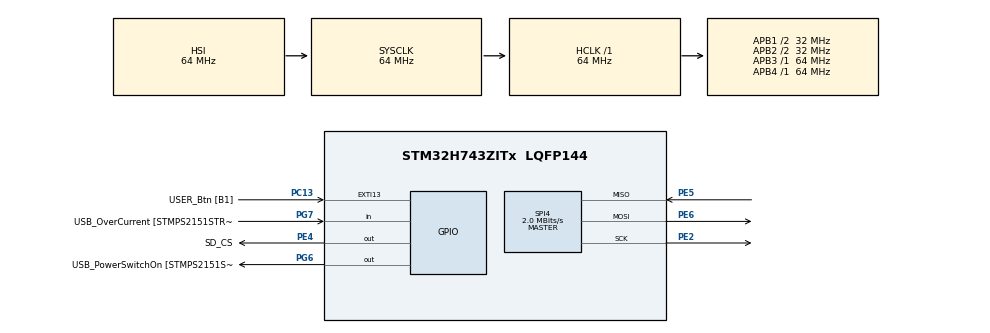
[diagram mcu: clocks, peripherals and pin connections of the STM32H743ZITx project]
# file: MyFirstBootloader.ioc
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FATFS._FS_TINY=0
FATFS._MAX_SS=512
FATFS._STRF_ENCODE=3
FATFS._USE_LFN=1
Mcu.Family=STM32H7
Mcu.Name=STM32H743ZITx
Mcu.Package=LQFP144
Mcu.UserConstants=ima_path,"/ima/"
NVIC.PriorityGroup=NVIC_PRIORITYGROUP_4
PA1.Signal=ETH_REF_CLK
PA2.GPIO_Label=RMII_MDIO
PA2.Signal=ETH_MDIO
PA7.Signal=ETH_CRS_DV
PB13.GPIO_Label=RMII_TXD1
PB13.Signal=ETH_TXD1
PC1.GPIO_Label=RMII_MDC
PC1.Signal=ETH_MDC
PC13.GPIO_Label=USER_Btn [B1]
PC13.Signal=GPXTI13
PC14-OSC32_IN\ (OSC32_IN).Signal=RCC_OSC32_IN
PC15-OSC32_OUT\ (OSC32_OUT).Signal=RCC_OSC32_OUT
PC4.GPIO_Label=RMII_RXD0
PC4.Signal=ETH_RXD0
PC5.GPIO_Label=RMII_RXD1
PC5.Signal=ETH_RXD1
PD8.GPIO_Label=STLK_RX [STM32F103CBT6_PA3]
PD8.Signal=USART3_TX
PD9.GPIO_Label=STLK_TX [STM32F103CBT6_PA2]
PD9.Signal=USART3_RX
PE2.GPIO_Mode=GPIO_MODE_AF_PP
PE2.GPIO_PuPd=GPIO_NOPULL
PE2.GPIO_Speed=GPIO_SPEED_FREQ_LOW
PE2.Mode=Full_Duplex_Master
PE2.Signal=SPI4_SCK
PE4.GPIO_Label=SD_CS
PE4.GPIO_ModeDefaultOutputPP=GPIO_MODE_OUTPUT_PP
PE4.GPIO_PuPd=GPIO_NOPULL
PE4.GPIO_Speed=GPIO_SPEED_FREQ_LOW
PE4.PinState=GPIO_PIN_SET
PE4.Signal=GPIO_Output
PE5.GPIO_Mode=GPIO_MODE_AF_PP
PE5.GPIO_PuPd=GPIO_NOPULL
PE5.GPIO_Speed=GPIO_SPEED_FREQ_LOW
PE5.Mode=Full_Duplex_Master
PE5.Signal=SPI4_MISO
PE6.Mode=Full_Duplex_Master
PE6.Signal=SPI4_MOSI
PG11.GPIO_Label=RMII_TX_EN
PG11.Signal=ETH_TX_EN
PG13.GPIO_Label=RMII_TXD0
PG13.Signal=ETH_TXD0
PG6.GPIO_Label=USB_PowerSwitchOn [STMPS2151STR_EN]
PG6.Signal=GPIO_Output
PG7.GPIO_Label=USB_OverCurrent [STMPS2151STR_FAULT]
PG7.Signal=GPIO_Input
PH0-OSC_IN\ (PH0).GPIO_Label=MCO
PH0-OSC_IN\ (PH0).Signal=RCC_OSC_IN
ProjectManager.HeapSize=0x200
ProjectManager.StackSize=0x400
ProjectManager.TargetToolchain=STM32CubeIDE
RCC.ADCFreq_Value=129000000
RCC.APB1Freq_Value=32000000
RCC.APB2Freq_Value=32000000
RCC.APB3Freq_Value=64000000
RCC.APB4Freq_Value=64000000
RCC.CortexFreq_Value=64000000
RCC.D2PPRE1=RCC_APB1_DIV2
RCC.D2PPRE2=RCC_APB2_DIV2
RCC.DIVM1=4
RCC.DIVN1=9
RCC.DIVQ1=3
RCC.HCLKFreq_Value=64000000
RCC.PLL2FRACN=0
RCC.PLL3FRACN=0
RCC.PLLFRACN=3072
RCC.PLLSourceVirtual=RCC_PLLSOURCE_HSI
RCC.SPI123CLockSelection=RCC_SPI123CLKSOURCE_CLKP
RCC.SYSCLKFreq_VALUE=64000000
RCC.USBCLockSelection=RCC_USBCLKSOURCE_HSI48
RCC.USBFreq_Value=48000000
SPI4.BaudRatePrescaler=SPI_BAUDRATEPRESCALER_16
SPI4.CalculateBaudRate=2.0 MBits/s
SPI4.DataSize=SPI_DATASIZE_8BIT
SPI4.Direction=SPI_DIRECTION_2LINES
SPI4.Mode=SPI_MODE_MASTER
SPI4.VirtualType=VM_MASTER
VP_FATFS_VS_Generic.Mode=User_defined
board=NUCLEO-H743ZI

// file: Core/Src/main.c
/* USER CODE BEGIN Header */
/**
  ******************************************************************************
  * @file           : main.c
  * @brief          : Main program body
  ******************************************************************************
  * @attention
  *
  * <h2><center>&copy; Copyright (c) 2021 STMicroelectronics.
  * All rights reserved.</center></h2>
  *
  * This software component is licensed by ST under BSD 3-Clause license,
  * the "License"; You may not use this file except in compliance with the
  * License. You may obtain a copy of the License at:
  *                        opensource.org/licenses/BSD-3-Clause
  *
  ******************************************************************************
  */
/* USER CODE END Header */
#include "main.h"
#include "fatfs.h"

/* USER CODE BEGIN Includes */
#include <stdio.h>
#include <string.h>
#include <stdarg.h> 		//for va_list var arg functions

#include <bl_mem_loop.h>
#include <memory_map.h>
#include <crc32.h>

/* USER CODE END Includes */

/* USER CODE BEGIN PD */
#define BOOTLOADER_DELAY      	5000
#define APP_START_ADDR			0x08020000

#define SD_INTERFACE			1
/* USER CODE END PD */

SPI_HandleTypeDef hspi4;

void SystemClock_Config(void);
static void MX_GPIO_Init(void);
static void MX_SPI4_Init(void);

int main(void)
{
  /* USER CODE BEGIN 1 */
  //bool try_boot = true;			/* try booting before we drop to the bootloader */
  //uint16_t timeout = BOOTLOADER_DELAY;	/* if nonzero, drop out of the bootloader after this time */
  /* USER CODE END 1 */

  /* MCU Configuration--------------------------------------------------------*/

  /* Reset of all peripherals, Initializes the Flash interface and the Systick. */
  HAL_Init();

  /* Configure the system clock */
  SystemClock_Config();

  /* Initialize all configured peripherals */
  MX_GPIO_Init();
  MX_FATFS_Init();
  MX_SPI4_Init();

  /* Infinite loop */
  while (1)
  {

    /* USER CODE BEGIN 3 */
	  // Check firmware updates.
	  //bootloader(timeout);
	#if SD_INTERFACE
	bl_fatsd(1000);
	#endif

	  // Check image.
	  image_hdr_t *image_hdr = (image_hdr_t *) &(__app_start__);
	  uint32_t crc = image_hdr->crc;

	  //pass all the flash memory addresses. //Start address is 0x08020000 (for this controller)
	  // TODO: Pass the starting flash address as parameter.
	  uint32_t flash_prog_start_add = 0x08020000 + 0x200; 		//512 is image_hdr memory space.

	  // compute CRC of the programmed area
	  uint32_t sum = ~0U;
	  for (uint32_t p = 0; p < image_hdr->data_size; p += 4)
	  {
		  uint32_t bytes;
		  uint32_t address = flash_prog_start_add + p;

		  if(address & 3)
		  {
			  printf("Error. Bad memory access.");
			  return 0;
		  }

		  //get data from flash
		  bytes = *(uint32_t *) address;

		  sum = crc32((uint8_t *)&bytes, sizeof(bytes), sum);
	  }
	  sum = sum ^ ~0U;

	  if(crc != sum)
	  {
	    printf("Error. Flash memory data corruption");
	    return 0;
	  }

	  // Launch image.
	  image_start(image_hdr);

  }
  /* USER CODE END 3 */
}

void SystemClock_Config(void)
{
  RCC_OscInitTypeDef RCC_OscInitStruct = {0};
  RCC_ClkInitTypeDef RCC_ClkInitStruct = {0};

  /** Supply configuration update enable
  */
  HAL_PWREx_ConfigSupply(PWR_LDO_SUPPLY);
  /** Configure the main internal regulator output voltage
  */
  __HAL_PWR_VOLTAGESCALING_CONFIG(PWR_REGULATOR_VOLTAGE_SCALE3);

  while(!__HAL_PWR_GET_FLAG(PWR_FLAG_VOSRDY)) {}
  /** Initializes the RCC Oscillators according to the specified parameters
  * in the RCC_OscInitTypeDef structure.
  */
  RCC_OscInitStruct.OscillatorType = RCC_OSCILLATORTYPE_HSI;
  RCC_OscInitStruct.HSIState = RCC_HSI_DIV1;
  RCC_OscInitStruct.HSICalibrationValue = RCC_HSICALIBRATION_DEFAULT;
  RCC_OscInitStruct.PLL.PLLState = RCC_PLL_NONE;
  if (HAL_RCC_OscConfig(&RCC_OscInitStruct) != HAL_OK)
  {
    Error_Handler();
  }
  /** Initializes the CPU, AHB and APB buses clocks
  */
  RCC_ClkInitStruct.ClockType = RCC_CLOCKTYPE_HCLK|RCC_CLOCKTYPE_SYSCLK
                              |RCC_CLOCKTYPE_PCLK1|RCC_CLOCKTYPE_PCLK2
                              |RCC_CLOCKTYPE_D3PCLK1|RCC_CLOCKTYPE_D1PCLK1;
  RCC_ClkInitStruct.SYSCLKSource = RCC_SYSCLKSOURCE_HSI;
  RCC_ClkInitStruct.SYSCLKDivider = RCC_SYSCLK_DIV1;
  RCC_ClkInitStruct.AHBCLKDivider = RCC_HCLK_DIV1;
  RCC_ClkInitStruct.APB3CLKDivider = RCC_APB3_DIV1;
  RCC_ClkInitStruct.APB1CLKDivider = RCC_APB1_DIV2;
  RCC_ClkInitStruct.APB2CLKDivider = RCC_APB2_DIV2;
  RCC_ClkInitStruct.APB4CLKDivider = RCC_APB4_DIV1;

  if (HAL_RCC_ClockConfig(&RCC_ClkInitStruct, FLASH_LATENCY_1) != HAL_OK)
  {
    Error_Handler();
  }
}

static void MX_SPI4_Init(void)
{

  /* SPI4 parameter configuration*/
  hspi4.Instance = SPI4;
  hspi4.Init.Mode = SPI_MODE_MASTER;
  hspi4.Init.Direction = SPI_DIRECTION_2LINES;
  hspi4.Init.DataSize = SPI_DATASIZE_8BIT;
  hspi4.Init.CLKPolarity = SPI_POLARITY_LOW;
  hspi4.Init.CLKPhase = SPI_PHASE_1EDGE;
  hspi4.Init.NSS = SPI_NSS_SOFT;
  hspi4.Init.BaudRatePrescaler = SPI_BAUDRATEPRESCALER_16;
  hspi4.Init.FirstBit = SPI_FIRSTBIT_MSB;
  hspi4.Init.TIMode = SPI_TIMODE_DISABLE;
  hspi4.Init.CRCCalculation = SPI_CRCCALCULATION_DISABLE;
  hspi4.Init.CRCPolynomial = 0x0;
  hspi4.Init.NSSPMode = SPI_NSS_PULSE_ENABLE;
  hspi4.Init.NSSPolarity = SPI_NSS_POLARITY_LOW;
  hspi4.Init.FifoThreshold = SPI_FIFO_THRESHOLD_01DATA;
  hspi4.Init.TxCRCInitializationPattern = SPI_CRC_INITIALIZATION_ALL_ZERO_PATTERN;
  hspi4.Init.RxCRCInitializationPattern = SPI_CRC_INITIALIZATION_ALL_ZERO_PATTERN;
  hspi4.Init.MasterSSIdleness = SPI_MASTER_SS_IDLENESS_00CYCLE;
  hspi4.Init.MasterInterDataIdleness = SPI_MASTER_INTERDATA_IDLENESS_00CYCLE;
  hspi4.Init.MasterReceiverAutoSusp = SPI_MASTER_RX_AUTOSUSP_DISABLE;
  hspi4.Init.MasterKeepIOState = SPI_MASTER_KEEP_IO_STATE_DISABLE;
  hspi4.Init.IOSwap = SPI_IO_SWAP_DISABLE;
  if (HAL_SPI_Init(&hspi4) != HAL_OK)
  {
    Error_Handler();
  }

}

static void MX_GPIO_Init(void)
{
  GPIO_InitTypeDef GPIO_InitStruct = {0};

  /* GPIO Ports Clock Enable */
  __HAL_RCC_GPIOE_CLK_ENABLE();
  __HAL_RCC_GPIOC_CLK_ENABLE();
  __HAL_RCC_GPIOH_CLK_ENABLE();
  __HAL_RCC_GPIOA_CLK_ENABLE();
  __HAL_RCC_GPIOB_CLK_ENABLE();
  __HAL_RCC_GPIOD_CLK_ENABLE();
  __HAL_RCC_GPIOG_CLK_ENABLE();

  /*Configure GPIO pin Output Level */
  HAL_GPIO_WritePin(SD_CS_GPIO_Port, SD_CS_Pin, GPIO_PIN_SET);

  /*Configure GPIO pin Output Level */
  HAL_GPIO_WritePin(USB_PowerSwitchOn_GPIO_Port, USB_PowerSwitchOn_Pin, GPIO_PIN_RESET);

  /*Configure GPIO pin : SD_CS_Pin */
  GPIO_InitStruct.Pin = SD_CS_Pin;
  GPIO_InitStruct.Mode = GPIO_MODE_OUTPUT_PP;
  GPIO_InitStruct.Pull = GPIO_NOPULL;
  GPIO_InitStruct.Speed = GPIO_SPEED_FREQ_LOW;
  HAL_GPIO_Init(SD_CS_GPIO_Port, &GPIO_InitStruct);

  /*Configure GPIO pin : USER_Btn_Pin */
  GPIO_InitStruct.Pin = USER_Btn_Pin;
  GPIO_InitStruct.Mode = GPIO_MODE_IT_RISING;
  GPIO_InitStruct.Pull = GPIO_NOPULL;
  HAL_GPIO_Init(USER_Btn_GPIO_Port, &GPIO_InitStruct);

  /*Configure GPIO pins : RMII_MDC_Pin RMII_RXD0_Pin RMII_RXD1_Pin */
  GPIO_InitStruct.Pin = RMII_MDC_Pin|RMII_RXD0_Pin|RMII_RXD1_Pin;
  GPIO_InitStruct.Mode = GPIO_MODE_AF_PP;
  GPIO_InitStruct.Pull = GPIO_NOPULL;
  GPIO_InitStruct.Speed = GPIO_SPEED_FREQ_LOW;
  GPIO_InitStruct.Alternate = GPIO_AF11_ETH;
  HAL_GPIO_Init(GPIOC, &GPIO_InitStruct);

  /*Configure GPIO pins : PA1 RMII_MDIO_Pin PA7 */
  GPIO_InitStruct.Pin = GPIO_PIN_1|RMII_MDIO_Pin|GPIO_PIN_7;
  GPIO_InitStruct.Mode = GPIO_MODE_AF_PP;
  GPIO_InitStruct.Pull = GPIO_NOPULL;
  GPIO_InitStruct.Speed = GPIO_SPEED_FREQ_LOW;
  GPIO_InitStruct.Alternate = GPIO_AF11_ETH;
  HAL_GPIO_Init(GPIOA, &GPIO_InitStruct);

  /*Configure GPIO pin : RMII_TXD1_Pin */
  GPIO_InitStruct.Pin = RMII_TXD1_Pin;
  GPIO_InitStruct.Mode = GPIO_MODE_AF_PP;
  GPIO_InitStruct.Pull = GPIO_NOPULL;
  GPIO_InitStruct.Speed = GPIO_SPEED_FREQ_LOW;
  GPIO_InitStruct.Alternate = GPIO_AF11_ETH;
  HAL_GPIO_Init(RMII_TXD1_GPIO_Port, &GPIO_InitStruct);

  /*Configure GPIO pins : STLK_RX_Pin STLK_TX_Pin */
  GPIO_InitStruct.Pin = STLK_RX_Pin|STLK_TX_Pin;
  GPIO_InitStruct.Mode = GPIO_MODE_AF_PP;
  GPIO_InitStruct.Pull = GPIO_NOPULL;
  GPIO_InitStruct.Speed = GPIO_SPEED_FREQ_LOW;
  GPIO_InitStruct.Alternate = GPIO_AF7_USART3;
  HAL_GPIO_Init(GPIOD, &GPIO_InitStruct);

  /*Configure GPIO pin : USB_PowerSwitchOn_Pin */
  GPIO_InitStruct.Pin = USB_PowerSwitchOn_Pin;
  GPIO_InitStruct.Mode = GPIO_MODE_OUTPUT_PP;
  GPIO_InitStruct.Pull = GPIO_NOPULL;
  GPIO_InitStruct.Speed = GPIO_SPEED_FREQ_LOW;
  HAL_GPIO_Init(USB_PowerSwitchOn_GPIO_Port, &GPIO_InitStruct);

  /*Configure GPIO pin : USB_OverCurrent_Pin */
  GPIO_InitStruct.Pin = USB_OverCurrent_Pin;
  GPIO_InitStruct.Mode = GPIO_MODE_INPUT;
  GPIO_InitStruct.Pull = GPIO_NOPULL;
  HAL_GPIO_Init(USB_OverCurrent_GPIO_Port, &GPIO_InitStruct);

  /*Configure GPIO pins : RMII_TX_EN_Pin RMII_TXD0_Pin */
  GPIO_InitStruct.Pin = RMII_TX_EN_Pin|RMII_TXD0_Pin;
  GPIO_InitStruct.Mode = GPIO_MODE_AF_PP;
  GPIO_InitStruct.Pull = GPIO_NOPULL;
  GPIO_InitStruct.Speed = GPIO_SPEED_FREQ_LOW;
  GPIO_InitStruct.Alternate = GPIO_AF11_ETH;
  HAL_GPIO_Init(GPIOG, &GPIO_InitStruct);

}

/* USER CODE BEGIN 4 */
void image_start(const image_hdr_t *image_hdr)
{
	uint32_t jumpAddr;
	ptrF Jump_To_Application;

	// check if available image in Flash.
	uint32_t vector_add_offset = (uint32_t)image_hdr + (uint32_t)image_hdr->vector_addr;

	if(((*(uint32_t*) vector_add_offset) & 0x2FFE0000) == 0x20020000)		//0x20020000 &
	{
		// loaded image info.
		printf("Image start... \r\n");
		HAL_Delay(100);

		//Jump to firmware.
		jumpAddr = *(uint32_t*)(vector_add_offset + 4);
		Jump_To_Application = (ptrF)jumpAddr;

		//Initialize firmware stack pointer.
		__set_MSP(*(uint32_t*)vector_add_offset);
		Jump_To_Application();
	}
	else
	{
		//Error. No firmware in Flash.
		printf("No firmware loaded \r\n");
		while(1)
		{
			NVIC_SystemReset();
		}
	}
}
/* USER CODE END 4 */

void Error_Handler(void)
{
  __disable_irq();
  while (1)
  {
  }
}

/************************ (C) COPYRIGHT STMicroelectronics *****END OF FILE****/
